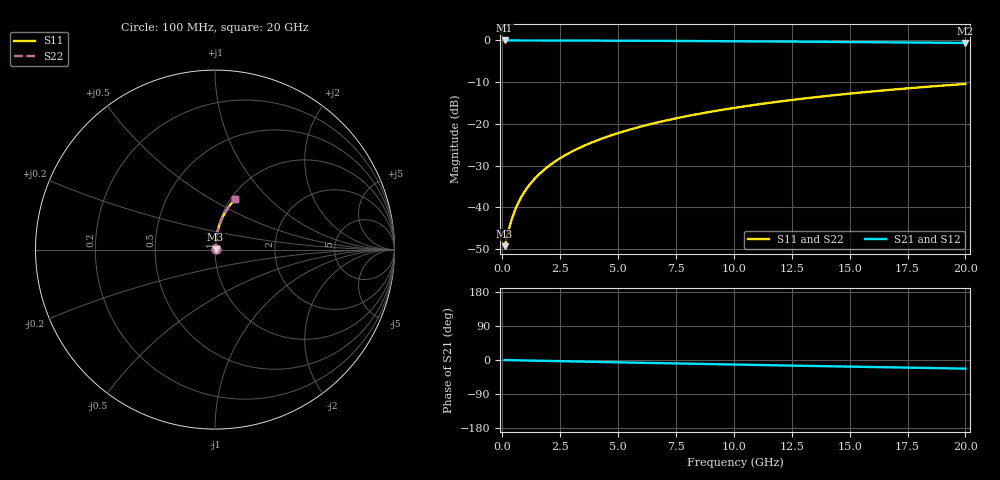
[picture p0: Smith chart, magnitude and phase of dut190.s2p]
! Touchstone file exported from HFSS 2024.1.0
!  File:  C:/UserFiles/LocalFiles/RDL_TSV_Batchsim/temp_RDL_top_190_1778686562.aedt
!  Generated:  11:38:31 PM May 13, 2026
!  Design:  RDL_top
!  Project:  temp_RDL_top_190_1778686562
!  Setup:  Setup1
!  Solution:  Sweep
! Variables:
!  dtsv = 10.80580581um
!  hbump = 3um
!  htsv = 66.24um
!  ldown = 100um
!  lrdl = 238.05um
!  p = 40
!  p1 = 49.13um
!  rhole = 1um
!  t = 450um
!  tdown = 3.915915916um
!  trdl = 2.6um
!  wdown = 15.38538539um
!  wrdl = 11.34um
# GHz S MA R 50.000000
! Terminal data exported
! Port[1] = Box2_T1
! Port[2] = Box2_T2
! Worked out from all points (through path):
!   200 points, 100 MHz to 20 GHz, reference 50 ohm
!   highest |S21| = -0.03 dB at 100 MHz (marker M1); lowest = -0.6 dB at 20 GHz (marker M2)
!   group delay of S21, straight-line fit = 3.16 ps
!   lowest |S11| = -49.3 dB at 100 MHz (marker M3), VSWR 1.01, Z = 50.3 + j0.161 ohm
!   |S11| at or under -10 dB: start of sweep to end of sweep
!   |S22| runs from -49.3 to -10.4 dB; largest |S21 - S12| = 2.2e-15
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0.1  0.00344 27.6  0.997 -0.1  0.997 -0.1  0.00344 27.6
! Gamma 0 0 0 0
! Port Impedance 50 0 50 0
0.3  0.005698 56.8  0.9969 -0.4  0.9969 -0.4  0.005698 56.8
0.4  0.00709 63.4  0.9968 -0.5  0.9968 -0.5  0.00709 63.4
0.5  0.00854 67.8  0.9968 -0.6  0.9968 -0.6  0.00854 67.8
0.6  0.01002 70.8  0.9967 -0.8  0.9967 -0.8  0.01002 70.8
0.7  0.01151 73.0  0.9966 -0.9  0.9966 -0.9  0.01151 73.0
0.9  0.01451 76.0  0.9965 -1.1  0.9965 -1.1  0.01451 76.0
1.2  0.01905 78.7  0.9962 -1.5  0.9962 -1.5  0.01905 78.7
1.4  0.02208 79.9  0.9961 -1.8  0.9961 -1.8  0.02208 79.9
1.7  0.02665 81.0  0.9958 -2.1  0.9958 -2.1  0.02665 81.0
2.2  0.03429 82.2  0.9952 -2.7  0.9952 -2.7  0.03429 82.2
2.8  0.04351 82.8  0.9945 -3.5  0.9945 -3.5  0.04351 82.8
3.5  0.05431 83.1  0.9934 -4.3  0.9934 -4.3  0.05431 83.1
4.2  0.06514 83.0  0.9921 -5.2  0.9921 -5.2  0.06514 83.0
5  0.07756 82.8  0.9903 -6.1  0.9903 -6.1  0.07755 82.8
5.9  0.09156 82.3  0.9881 -7.2  0.9881 -7.2  0.09155 82.2
6.8  0.1056 81.6  0.9857 -8.3  0.9857 -8.3  0.1056 81.6
8.3  0.1289 80.4  0.9811 -10.0  0.9811 -10.0  0.1289 80.4
10.1  0.1568 78.7  0.9748 -12.1  0.9748 -12.1  0.1568 78.7
13.4  0.2069 75.4  0.9618 -15.8  0.9618 -15.8  0.2068 75.3
16.7  0.2551 71.9  0.9472 -19.3  0.9472 -19.3  0.255 71.9
20  0.3009 68.5  0.9312 -22.8  0.9312 -22.8  0.3009 68.5
